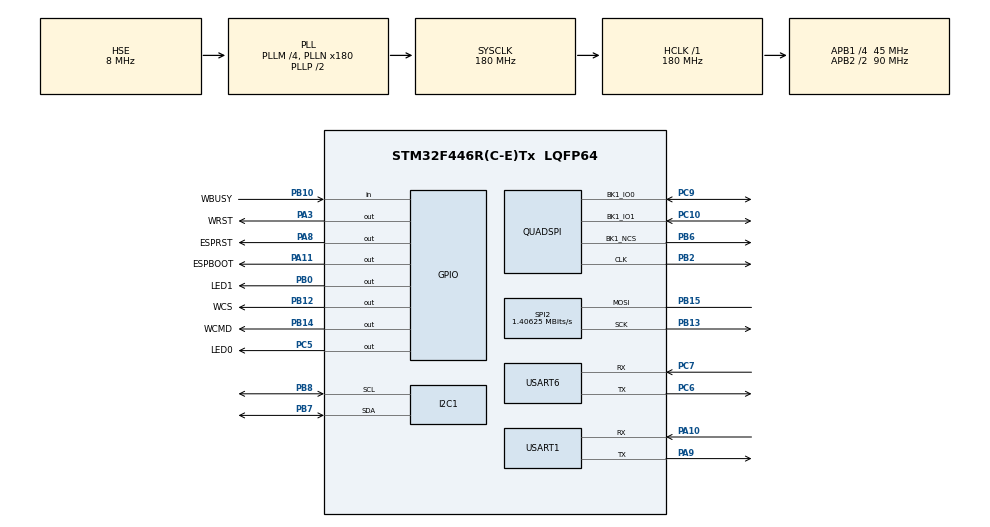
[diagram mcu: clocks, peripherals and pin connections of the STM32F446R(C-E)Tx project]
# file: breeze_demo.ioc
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Mcu.Family=STM32F4
Dma.USART1_TX.2.Direction=DMA_MEMORY_TO_PERIPH
PH0-OSC_IN.Signal=RCC_OSC_IN
RCC.CortexFreq_Value=180000000
RTC.Alarm=RTC_ALARM_A
NVIC.I2C1_EV_IRQn=true\:0\:0\:false\:false\:true\:true\:true
QUADSPI.ClockPrescaler=127
SPI2.VirtualType=VM_MASTER
VP_ADC1_TempSens_Input.Mode=IN-TempSens
PC10.Signal=QUADSPI_BK1_IO1
PB14.GPIO_Label=WCMD
VP_RTC_VS_RTC_Activate.Mode=RTC_Enabled
PB0.GPIO_Label=LED1
PA11.GPIO_PuPd=GPIO_PULLUP
PB13.Signal=SPI2_SCK
PB15.Signal=SPI2_MOSI
Dma.USART6_TX.0.Mode=DMA_NORMAL
VP_RTC_VS_RTC_Alarm_A_Intern.Mode=Alarm A
RCC.SYSCLKSource=RCC_SYSCLKSOURCE_PLLCLK
ProjectManager.StackSize=0x200
Dma.USART6_TX.0.FIFOMode=DMA_FIFOMODE_DISABLE
Dma.USART6_TX.0.Direction=DMA_MEMORY_TO_PERIPH
PB0.PinState=GPIO_PIN_SET
Dma.USART6_TX.0.Instance=DMA2_Stream6
RCC.HCLKFreq_Value=180000000
RCC.APB2TimFreq_Value=180000000
PB6.Signal=QUADSPI_BK1_NCS
PC7.Signal=USART6_RX
PB6.Mode=Single Bank 1 2IOs
Dma.USART1_RX.1.MemInc=DMA_MINC_ENABLE
QUADSPI.FlashSize=21
RCC.AHBFreq_Value=180000000
SPI2.BaudRatePrescaler=SPI_BAUDRATEPRESCALER_32
PH0-OSC_IN.Mode=HSE-External-Oscillator
ADC1.Channel-0\#ChannelRegularConversion=ADC_CHANNEL_TEMPSENSOR
NVIC.TIM1_TRG_COM_TIM11_IRQn=true\:0\:0\:false\:false\:true\:true\:true
RCC.HSE_VALUE=8000000
Dma.USART1_RX.1.PeriphDataAlignment=DMA_PDATAALIGN_BYTE
PB2.Signal=QUADSPI_CLK
PB12.GPIO_Label=WCS
PA11.GPIO_ModeDefaultOutputPP=GPIO_MODE_OUTPUT_OD
PC14-OSC32_IN.Mode=LSE-External-Oscillator
PA14.Mode=Serial_Wire
PC9.Mode=Single Bank 1 2IOs
SPI2.CalculateBaudRate=1.40625 MBits/s
Dma.USART1_TX.2.PeriphDataAlignment=DMA_PDATAALIGN_BYTE
PB7.Signal=I2C1_SDA
PA8.Signal=GPIO_Output
PA8.GPIO_ModeDefaultOutputPP=GPIO_MODE_OUTPUT_OD
Dma.USART1_TX.2.MemDataAlignment=DMA_MDATAALIGN_BYTE
NVIC.I2C1_ER_IRQn=true\:0\:0\:false\:false\:true\:true\:true
ADC1.SamplingTime-0\#ChannelRegularConversion=ADC_SAMPLETIME_3CYCLES
Dma.USART1_RX.1.Mode=DMA_CIRCULAR
PH1-OSC_OUT.Mode=HSE-External-Oscillator
Mcu.Package=LQFP64
NVIC.DMA2_Stream7_IRQn=true\:0\:0\:false\:false\:true\:false\:true
SPI2.Mode=SPI_MODE_MASTER
USART6.VirtualMode=VM_ASYNC
PA10.Signal=USART1_RX
VP_RTC_VS_RTC_Calendar.Mode=RTC_Calendar
Dma.USART1_RX.1.PeriphInc=DMA_PINC_DISABLE
RCC.APB2CLKDivider=RCC_HCLK_DIV2
NVIC.DMA2_Stream2_IRQn=true\:0\:0\:false\:false\:true\:false\:true
Dma.Request2=USART1_TX
Dma.Request1=USART1_RX
RCC.APB1TimFreq_Value=90000000
SPI2.Direction=SPI_DIRECTION_1LINE
PC5.Signal=GPIO_Output
PB13.Mode=Simplex_Bidirectional_Master
Dma.USART1_RX.1.Priority=DMA_PRIORITY_HIGH
NVIC.USART1_IRQn=true\:0\:0\:false\:false\:true\:true\:true
Dma.Request0=USART6_TX
Dma.USART6_TX.0.MemDataAlignment=DMA_MDATAALIGN_BYTE
RTC.Seconds_A=10
PA8.PinState=GPIO_PIN_SET
PA3.Signal=GPIO_Output
RCC.PLLSourceVirtual=RCC_PLLSOURCE_HSE
PC15-OSC32_OUT.Mode=LSE-External-Oscillator
Dma.USART1_RX.1.Instance=DMA2_Stream2
NVIC.QUADSPI_IRQn=true\:0\:0\:false\:false\:true\:true\:true
Dma.USART6_TX.0.MemInc=DMA_MINC_ENABLE
Dma.USART1_RX.1.MemDataAlignment=DMA_MDATAALIGN_BYTE
ADC1.Rank-0\#ChannelRegularConversion=1
PA10.Mode=Asynchronous
Dma.USART1_TX.2.MemInc=DMA_MINC_ENABLE
RTC.AlarmMaskDateWeekDay=RTC_ALARMMASK_DATEWEEKDAY
PC6.Signal=USART6_TX
PC10.Mode=Single Bank 1 2IOs
PA11.GPIO_Label=ESPBOOT
TIM11.Prescaler=49999
RCC.APB1CLKDivider=RCC_HCLK_DIV4
PC14-OSC32_IN.Signal=RCC_OSC32_IN
VP_TIM11_VS_ClockSourceINT.Mode=Enable_Timer
NVIC.USART6_IRQn=true\:0\:0\:false\:false\:true\:true\:true
PA13.Signal=SYS_JTMS-SWDIO
PA9.Mode=Asynchronous
PA8.GPIO_Label=ESPRST
RTC.AlarmMaskMinutes=RTC_ALARMMASK_MINUTES
ProjectManager.TargetToolchain=STM32CubeIDE
PB10.GPIO_Label=WBUSY
PC6.Mode=Asynchronous
PA9.Signal=USART1_TX
RCC.USBFreq_Value=180000000
NVIC.DMA2_Stream6_IRQn=true\:0\:0\:false\:false\:true\:false\:true
PC15-OSC32_OUT.Signal=RCC_OSC32_OUT
PB10.Signal=GPIO_Input
PB14.Signal=GPIO_Output
Dma.USART1_RX.1.FIFOMode=DMA_FIFOMODE_DISABLE
board=custom
RCC.VCOOutputFreq_Value=360000000
PB15.Mode=Simplex_Bidirectional_Master
Dma.USART1_TX.2.FIFOMode=DMA_FIFOMODE_DISABLE
TIM11.Period=17999
RCC.APB2Freq_Value=90000000
Dma.USART1_TX.2.Priority=DMA_PRIORITY_LOW
PH1-OSC_OUT.Signal=RCC_OSC_OUT
RCC.RCC_RTC_Clock_SourceVirtual=RCC_RTCCLKSOURCE_LSE
Dma.USART6_TX.0.PeriphInc=DMA_PINC_DISABLE
PA13.Mode=Serial_Wire
Mcu.Name=STM32F446R(C-E)Tx
Dma.USART1_TX.2.PeriphInc=DMA_PINC_DISABLE
RTC.AlarmMaskHours=RTC_ALARMMASK_HOURS
RCC.SYSCLKFreq_VALUE=180000000
ADC1.master=1
PC5.PinState=GPIO_PIN_SET
PC5.GPIO_Label=LED0
PB2.Mode=Single Bank 1 2IOs
USART1.VirtualMode=VM_ASYNC
PB7.Mode=I2C
PA11.Signal=GPIO_Output
PA14.Signal=SYS_JTCK-SWCLK
ProjectManager.HeapSize=0x400
Dma.USART1_TX.2.Mode=DMA_NORMAL
PA8.GPIO_PuPd=GPIO_PULLUP
NVIC.PriorityGroup=NVIC_PRIORITYGROUP_4
ADC1.NbrOfConversionFlag=1
Dma.USART1_TX.2.Instance=DMA2_Stream7
RCC.PLLM=4
PB8.Mode=I2C
RCC.PLLN=180
Dma.USART6_TX.0.Priority=DMA_PRIORITY_LOW
PB8.Signal=I2C1_SCL
Dma.USART1_RX.1.Direction=DMA_PERIPH_TO_MEMORY
PC9.Signal=QUADSPI_BK1_IO0
PC7.Mode=Asynchronous
PA11.PinState=GPIO_PIN_SET
RCC.APB1Freq_Value=45000000
PB0.Signal=GPIO_Output
PB12.Signal=GPIO_Output
Dma.USART6_TX.0.PeriphDataAlignment=DMA_PDATAALIGN_BYTE
PA3.GPIO_Label=WRST

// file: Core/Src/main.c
/* USER CODE BEGIN Header */
/**
 ******************************************************************************
 * @file           : main.c
 * @brief          : Main program body
 ******************************************************************************
 * @attention
 *
 * <h2><center>&copy; Copyright (c) 2021 STMicroelectronics.
 * All rights reserved.</center></h2>
 *
 * This software component is licensed by ST under BSD 3-Clause license,
 * the "License"; You may not use this file except in compliance with the
 * License. You may obtain a copy of the License at:
 *                        opensource.org/licenses/BSD-3-Clause
 *
 ******************************************************************************
 */
/* USER CODE END Header */
#include "main.h"

/* USER CODE BEGIN Includes */
#include <string.h>
#include <stdio.h>

#include "display.h"
#include "ext_storage.h"
#include "https_download.h"
#include "bme_driver.h"
#include "image_data.h"
#include "sys_control.h"
#include "entropy.h"
#include "image_hash.h"
/* USER CODE END Includes */

/* USER CODE BEGIN PTD */
#define LED_GPIO_ON		GPIO_PIN_RESET
#define LED_GPIO_OFF	(!(LED_GPIO_ON))

/* USER CODE END PTD */

/* USER CODE BEGIN PD */
#define PNG_IMAGE_ADDRESS		0x08020000
#define PNG_IMAGE_SIZE			53793
/* USER CODE END PD */

ADC_HandleTypeDef hadc1;

I2C_HandleTypeDef hi2c1;

QSPI_HandleTypeDef hqspi;

RTC_HandleTypeDef hrtc;

SPI_HandleTypeDef hspi2;

TIM_HandleTypeDef htim11;

UART_HandleTypeDef huart1;
UART_HandleTypeDef huart6;
DMA_HandleTypeDef hdma_usart1_rx;
DMA_HandleTypeDef hdma_usart1_tx;
DMA_HandleTypeDef hdma_usart6_tx;

void SystemClock_Config(void);
static void MX_GPIO_Init(void);
static void MX_DMA_Init(void);
static void MX_USART6_UART_Init(void);
static void MX_SPI2_Init(void);
static void MX_QUADSPI_Init(void);
static void MX_USART1_UART_Init(void);
static void MX_I2C1_Init(void);
static void MX_TIM11_Init(void);
static void MX_ADC1_Init(void);
static void MX_RTC_Init(void);
/* USER CODE BEGIN PFP */
static void qspi_test(void);
/* USER CODE END PFP */

int main(void)
{

	/* MCU Configuration--------------------------------------------------------*/

	/* Reset of all peripherals, Initializes the Flash interface and the Systick. */
	HAL_Init();

	/* Configure the system clock */
	SystemClock_Config();

	/* Initialize all configured peripherals */
	MX_GPIO_Init();
	MX_DMA_Init();
	MX_USART6_UART_Init();
	MX_SPI2_Init();
	MX_QUADSPI_Init();
	MX_USART1_UART_Init();
	MX_I2C1_Init();
	MX_TIM11_Init();
	MX_ADC1_Init();
	MX_RTC_Init();
	/* USER CODE BEGIN 2 */
	__HAL_PWR_CLEAR_FLAG(PWR_FLAG_WU);
	/* USER CODE END 2 */

	/* Infinite loop */
	/* USER CODE BEGIN WHILE */

#define DISPLAY_IMAGE
#define READ_WEATHER_DATA
#define DOWNLOAD_IMAGE
#define VERIFY_IMAGE

	HAL_Delay(400);
	printf("App started\r\n");
	HAL_Delay(100);
	led_set(0, 0);
	led_set(1, 0);

	if (entropy_init()) {
		Error_Handler();
	}

	if (bme_driver_init()) {
		Error_Handler();
	}

	led_set(1, 1);
	esp_reset(1);
	HAL_Delay(200);
	esp_reset(0);
	led_set(1, 0);

#ifdef DISPLAY_IMAGE
	display_init();
#else
	HAL_Delay(1000);
#endif

#ifdef ESP_TEST_READ_WRITE
	esp_test_read_write();
#endif

#ifdef DOWNLOAD_IMAGE
	ext_storage_t ext;
	static image_data_t image_data;
	if (ext_storage_init(&ext)) {
		Error_Handler();
	}
	image_hash_init();

	if (https_download_image(&ext, &image_data)) {
		printf("Failed to download image\r\n");
		Error_Handler();
	}
	printf("Image with size %u saved to QSPI flash\r\n", image_data.size);
#endif

	static uint8_t qspi_read_buf[256];

#ifdef VERIFY_IMAGE
	printf("Verifying image hash\r\n");
	ext_storage_read_and_hash(&ext, qspi_read_buf, 256);
	if (image_hash_equal()) {
		printf("Image hash verified\r\n");
		image_hash_release();
	} else {
		printf("Image hash verify failed\r\n");
		Error_Handler();
	}
#endif

#ifdef DISPLAY_IMAGE
	display_clear();
	HAL_Delay(100);
	led_set(1, 1);
	load_png_image_init();
	size_t bytes_fed = 0;
	const size_t feed_chunk = 256;
	while (bytes_fed < image_data.size) {
		size_t to_feed = image_data.size - bytes_fed;
		if (to_feed > feed_chunk) {
			to_feed = feed_chunk;
		}
		if (ext_storage_read(&ext, qspi_read_buf, to_feed, ext.start_address + bytes_fed)) {
			Error_Handler();
		}
		if (load_png_image_feed(qspi_read_buf, to_feed)) {
			printf("Feed failed at %u\r\n", bytes_fed);
			display_deinit();
			HAL_Delay(1000);
			Error_Handler();
		}
		bytes_fed += to_feed;
	}
	load_png_image_release();
#endif

#ifdef READ_WEATHER_DATA
	static char weather_str[256];
	weather_data_t weather;

	if (bme_driver_get_weather(&weather)) {
		Error_Handler();
	}
	snprintf(weather_str, sizeof(weather_str),
			"xkcd.com: %s  | T:%d.%02dC,P:%dmmHg,H:%d%%",
			image_data.title,
			weather.temperature / 100, weather.temperature % 100,
			weather.pressure,
			weather.humidity);
#ifdef DISPLAY_IMAGE
	display_add_text(weather_str);
#endif
#endif

#ifdef DISPLAY_IMAGE
	display_png_image();
	HAL_Delay(100);
	display_deinit();
#endif

	led_set(0, 0);
	led_set(1, 0);

	/*
	static const int wait_sec = 60 * 2;
	static const int wait_period = 5;

	if (wait_sec) {
		system_wait_and_reset(wait_sec, wait_period);
	}
	*/
	system_go_standby(0x30, 0x00);

	while (1)
	{
		/* USER CODE END WHILE */

		/* USER CODE BEGIN 3 */
		led_set(1, 1);
		HAL_Delay(100);
		led_set(1, 0);
		HAL_Delay(1000);
	}
	/* USER CODE END 3 */
}

void SystemClock_Config(void)
{
	RCC_OscInitTypeDef RCC_OscInitStruct = {0};
	RCC_ClkInitTypeDef RCC_ClkInitStruct = {0};
	RCC_PeriphCLKInitTypeDef PeriphClkInitStruct = {0};

	/** Configure the main internal regulator output voltage
	 */
	__HAL_RCC_PWR_CLK_ENABLE();
	__HAL_PWR_VOLTAGESCALING_CONFIG(PWR_REGULATOR_VOLTAGE_SCALE1);
	/** Initializes the RCC Oscillators according to the specified parameters
	 * in the RCC_OscInitTypeDef structure.
	 */
	RCC_OscInitStruct.OscillatorType = RCC_OSCILLATORTYPE_HSE|RCC_OSCILLATORTYPE_LSE;
	RCC_OscInitStruct.HSEState = RCC_HSE_ON;
	RCC_OscInitStruct.LSEState = RCC_LSE_ON;
	RCC_OscInitStruct.PLL.PLLState = RCC_PLL_ON;
	RCC_OscInitStruct.PLL.PLLSource = RCC_PLLSOURCE_HSE;
	RCC_OscInitStruct.PLL.PLLM = 4;
	RCC_OscInitStruct.PLL.PLLN = 180;
	RCC_OscInitStruct.PLL.PLLP = RCC_PLLP_DIV2;
	RCC_OscInitStruct.PLL.PLLQ = 2;
	RCC_OscInitStruct.PLL.PLLR = 2;
	if (HAL_RCC_OscConfig(&RCC_OscInitStruct) != HAL_OK)
	{
		Error_Handler();
	}
	/** Activate the Over-Drive mode
	 */
	if (HAL_PWREx_EnableOverDrive() != HAL_OK)
	{
		Error_Handler();
	}
	/** Initializes the CPU, AHB and APB buses clocks
	 */
	RCC_ClkInitStruct.ClockType = RCC_CLOCKTYPE_HCLK|RCC_CLOCKTYPE_SYSCLK
			|RCC_CLOCKTYPE_PCLK1|RCC_CLOCKTYPE_PCLK2;
	RCC_ClkInitStruct.SYSCLKSource = RCC_SYSCLKSOURCE_PLLCLK;
	RCC_ClkInitStruct.AHBCLKDivider = RCC_SYSCLK_DIV1;
	RCC_ClkInitStruct.APB1CLKDivider = RCC_HCLK_DIV4;
	RCC_ClkInitStruct.APB2CLKDivider = RCC_HCLK_DIV2;

	if (HAL_RCC_ClockConfig(&RCC_ClkInitStruct, FLASH_LATENCY_5) != HAL_OK)
	{
		Error_Handler();
	}
	PeriphClkInitStruct.PeriphClockSelection = RCC_PERIPHCLK_RTC;
	PeriphClkInitStruct.RTCClockSelection = RCC_RTCCLKSOURCE_LSE;
	if (HAL_RCCEx_PeriphCLKConfig(&PeriphClkInitStruct) != HAL_OK)
	{
		Error_Handler();
	}
}

static void MX_ADC1_Init(void)
{

	ADC_ChannelConfTypeDef sConfig = {0};

	/** Configure the global features of the ADC (Clock, Resolution, Data Alignment and number of conversion)
	 */
	hadc1.Instance = ADC1;
	hadc1.Init.ClockPrescaler = ADC_CLOCK_SYNC_PCLK_DIV4;
	hadc1.Init.Resolution = ADC_RESOLUTION_12B;
	hadc1.Init.ScanConvMode = DISABLE;
	hadc1.Init.ContinuousConvMode = DISABLE;
	hadc1.Init.DiscontinuousConvMode = DISABLE;
	hadc1.Init.ExternalTrigConvEdge = ADC_EXTERNALTRIGCONVEDGE_NONE;
	hadc1.Init.ExternalTrigConv = ADC_SOFTWARE_START;
	hadc1.Init.DataAlign = ADC_DATAALIGN_RIGHT;
	hadc1.Init.NbrOfConversion = 1;
	hadc1.Init.DMAContinuousRequests = DISABLE;
	hadc1.Init.EOCSelection = ADC_EOC_SINGLE_CONV;
	if (HAL_ADC_Init(&hadc1) != HAL_OK)
	{
		Error_Handler();
	}
	/** Configure for the selected ADC regular channel its corresponding rank in the sequencer and its sample time.
	 */
	sConfig.Channel = ADC_CHANNEL_TEMPSENSOR;
	sConfig.Rank = 1;
	sConfig.SamplingTime = ADC_SAMPLETIME_3CYCLES;
	if (HAL_ADC_ConfigChannel(&hadc1, &sConfig) != HAL_OK)
	{
		Error_Handler();
	}

}

static void MX_I2C1_Init(void)
{

	hi2c1.Instance = I2C1;
	hi2c1.Init.ClockSpeed = 100000;
	hi2c1.Init.DutyCycle = I2C_DUTYCYCLE_2;
	hi2c1.Init.OwnAddress1 = 0;
	hi2c1.Init.AddressingMode = I2C_ADDRESSINGMODE_7BIT;
	hi2c1.Init.DualAddressMode = I2C_DUALADDRESS_DISABLE;
	hi2c1.Init.OwnAddress2 = 0;
	hi2c1.Init.GeneralCallMode = I2C_GENERALCALL_DISABLE;
	hi2c1.Init.NoStretchMode = I2C_NOSTRETCH_DISABLE;
	if (HAL_I2C_Init(&hi2c1) != HAL_OK)
	{
		Error_Handler();
	}

}

static void MX_QUADSPI_Init(void)
{

	/* QUADSPI parameter configuration*/
	hqspi.Instance = QUADSPI;
	hqspi.Init.ClockPrescaler = 127;
	hqspi.Init.FifoThreshold = 1;
	hqspi.Init.SampleShifting = QSPI_SAMPLE_SHIFTING_NONE;
	hqspi.Init.FlashSize = 21;
	hqspi.Init.ChipSelectHighTime = QSPI_CS_HIGH_TIME_1_CYCLE;
	hqspi.Init.ClockMode = QSPI_CLOCK_MODE_0;
	hqspi.Init.FlashID = QSPI_FLASH_ID_1;
	hqspi.Init.DualFlash = QSPI_DUALFLASH_DISABLE;
	if (HAL_QSPI_Init(&hqspi) != HAL_OK)
	{
		Error_Handler();
	}

}

static void MX_RTC_Init(void)
{

	RTC_TimeTypeDef sTime = {0};
	RTC_DateTypeDef sDate = {0};
	RTC_AlarmTypeDef sAlarm = {0};

	/** Initialize RTC Only
	 */
	hrtc.Instance = RTC;
	hrtc.Init.HourFormat = RTC_HOURFORMAT_24;
	hrtc.Init.AsynchPrediv = 127;
	hrtc.Init.SynchPrediv = 255;
	hrtc.Init.OutPut = RTC_OUTPUT_DISABLE;
	hrtc.Init.OutPutPolarity = RTC_OUTPUT_POLARITY_HIGH;
	hrtc.Init.OutPutType = RTC_OUTPUT_TYPE_OPENDRAIN;
	if (HAL_RTC_Init(&hrtc) != HAL_OK)
	{
		Error_Handler();
	}

	/** Initialize RTC and set the Time and Date
	 */
	sTime.Hours = 0x0;
	sTime.Minutes = 0x0;
	sTime.Seconds = 0x0;
	sTime.DayLightSaving = RTC_DAYLIGHTSAVING_NONE;
	sTime.StoreOperation = RTC_STOREOPERATION_RESET;
	if (HAL_RTC_SetTime(&hrtc, &sTime, RTC_FORMAT_BCD) != HAL_OK)
	{
		Error_Handler();
	}
	sDate.WeekDay = RTC_WEEKDAY_MONDAY;
	sDate.Month = RTC_MONTH_JANUARY;
	sDate.Date = 0x1;
	sDate.Year = 0x0;

	if (HAL_RTC_SetDate(&hrtc, &sDate, RTC_FORMAT_BCD) != HAL_OK)
	{
		Error_Handler();
	}
	/** Enable the Alarm A
	 */
	sAlarm.AlarmTime.Hours = 0x0;
	sAlarm.AlarmTime.Minutes = 0x0;
	sAlarm.AlarmTime.Seconds = 0x05;
	sAlarm.AlarmTime.SubSeconds = 0x0;
	sAlarm.AlarmTime.DayLightSaving = RTC_DAYLIGHTSAVING_NONE;
	sAlarm.AlarmTime.StoreOperation = RTC_STOREOPERATION_RESET;
	sAlarm.AlarmMask = RTC_ALARMMASK_DATEWEEKDAY|RTC_ALARMMASK_HOURS
			|RTC_ALARMMASK_MINUTES;
	sAlarm.AlarmSubSecondMask = RTC_ALARMSUBSECONDMASK_ALL;
	sAlarm.AlarmDateWeekDaySel = RTC_ALARMDATEWEEKDAYSEL_DATE;
	sAlarm.AlarmDateWeekDay = 0x1;
	sAlarm.Alarm = RTC_ALARM_A;
	if (HAL_RTC_SetAlarm(&hrtc, &sAlarm, RTC_FORMAT_BCD) != HAL_OK)
	{
		Error_Handler();
	}

}

static void MX_SPI2_Init(void)
{

	/* SPI2 parameter configuration*/
	hspi2.Instance = SPI2;
	hspi2.Init.Mode = SPI_MODE_MASTER;
	hspi2.Init.Direction = SPI_DIRECTION_1LINE;
	hspi2.Init.DataSize = SPI_DATASIZE_8BIT;
	hspi2.Init.CLKPolarity = SPI_POLARITY_LOW;
	hspi2.Init.CLKPhase = SPI_PHASE_1EDGE;
	hspi2.Init.NSS = SPI_NSS_SOFT;
	hspi2.Init.BaudRatePrescaler = SPI_BAUDRATEPRESCALER_32;
	hspi2.Init.FirstBit = SPI_FIRSTBIT_MSB;
	hspi2.Init.TIMode = SPI_TIMODE_DISABLE;
	hspi2.Init.CRCCalculation = SPI_CRCCALCULATION_DISABLE;
	hspi2.Init.CRCPolynomial = 10;
	if (HAL_SPI_Init(&hspi2) != HAL_OK)
	{
		Error_Handler();
	}

}

static void MX_TIM11_Init(void)
{

	htim11.Instance = TIM11;
	htim11.Init.Prescaler = 49999;
	htim11.Init.CounterMode = TIM_COUNTERMODE_UP;
	htim11.Init.Period = 17999;
	htim11.Init.ClockDivision = TIM_CLOCKDIVISION_DIV1;
	htim11.Init.AutoReloadPreload = TIM_AUTORELOAD_PRELOAD_DISABLE;
	if (HAL_TIM_Base_Init(&htim11) != HAL_OK)
	{
		Error_Handler();
	}

}

static void MX_USART1_UART_Init(void)
{

	huart1.Instance = USART1;
	huart1.Init.BaudRate = 115200;
	huart1.Init.WordLength = UART_WORDLENGTH_8B;
	huart1.Init.StopBits = UART_STOPBITS_1;
	huart1.Init.Parity = UART_PARITY_NONE;
	huart1.Init.Mode = UART_MODE_TX_RX;
	huart1.Init.HwFlowCtl = UART_HWCONTROL_NONE;
	huart1.Init.OverSampling = UART_OVERSAMPLING_16;
	if (HAL_UART_Init(&huart1) != HAL_OK)
	{
		Error_Handler();
	}

}

static void MX_USART6_UART_Init(void)
{

	huart6.Instance = USART6;
	huart6.Init.BaudRate = 115200;
	huart6.Init.WordLength = UART_WORDLENGTH_8B;
	huart6.Init.StopBits = UART_STOPBITS_1;
	huart6.Init.Parity = UART_PARITY_NONE;
	huart6.Init.Mode = UART_MODE_TX_RX;
	huart6.Init.HwFlowCtl = UART_HWCONTROL_NONE;
	huart6.Init.OverSampling = UART_OVERSAMPLING_16;
	if (HAL_UART_Init(&huart6) != HAL_OK)
	{
		Error_Handler();
	}

}

static void MX_DMA_Init(void)
{

	/* DMA controller clock enable */
	__HAL_RCC_DMA2_CLK_ENABLE();

	/* DMA interrupt init */
	/* DMA2_Stream2_IRQn interrupt configuration */
	HAL_NVIC_SetPriority(DMA2_Stream2_IRQn, 0, 0);
	HAL_NVIC_EnableIRQ(DMA2_Stream2_IRQn);
	/* DMA2_Stream6_IRQn interrupt configuration */
	HAL_NVIC_SetPriority(DMA2_Stream6_IRQn, 0, 0);
	HAL_NVIC_EnableIRQ(DMA2_Stream6_IRQn);
	/* DMA2_Stream7_IRQn interrupt configuration */
	HAL_NVIC_SetPriority(DMA2_Stream7_IRQn, 0, 0);
	HAL_NVIC_EnableIRQ(DMA2_Stream7_IRQn);

}

static void MX_GPIO_Init(void)
{
	GPIO_InitTypeDef GPIO_InitStruct = {0};

	/* GPIO Ports Clock Enable */
	__HAL_RCC_GPIOC_CLK_ENABLE();
	__HAL_RCC_GPIOH_CLK_ENABLE();
	__HAL_RCC_GPIOA_CLK_ENABLE();
	__HAL_RCC_GPIOB_CLK_ENABLE();

	/*Configure GPIO pin Output Level */
	HAL_GPIO_WritePin(WRST_GPIO_Port, WRST_Pin, GPIO_PIN_RESET);

	/*Configure GPIO pin Output Level */
	HAL_GPIO_WritePin(LED0_GPIO_Port, LED0_Pin, GPIO_PIN_SET);

	/*Configure GPIO pin Output Level */
	HAL_GPIO_WritePin(LED1_GPIO_Port, LED1_Pin, GPIO_PIN_SET);

	/*Configure GPIO pin Output Level */
	HAL_GPIO_WritePin(GPIOB, WCS_Pin|WCMD_Pin, GPIO_PIN_RESET);

	/*Configure GPIO pin Output Level */
	HAL_GPIO_WritePin(GPIOA, ESPRST_Pin|ESPBOOT_Pin, GPIO_PIN_SET);

	/*Configure GPIO pin : WRST_Pin */
	GPIO_InitStruct.Pin = WRST_Pin;
	GPIO_InitStruct.Mode = GPIO_MODE_OUTPUT_PP;
	GPIO_InitStruct.Pull = GPIO_NOPULL;
	GPIO_InitStruct.Speed = GPIO_SPEED_FREQ_LOW;
	HAL_GPIO_Init(WRST_GPIO_Port, &GPIO_InitStruct);

	/*Configure GPIO pin : LED0_Pin */
	GPIO_InitStruct.Pin = LED0_Pin;
	GPIO_InitStruct.Mode = GPIO_MODE_OUTPUT_PP;
	GPIO_InitStruct.Pull = GPIO_NOPULL;
	GPIO_InitStruct.Speed = GPIO_SPEED_FREQ_LOW;
	HAL_GPIO_Init(LED0_GPIO_Port, &GPIO_InitStruct);

	/*Configure GPIO pins : LED1_Pin WCS_Pin WCMD_Pin */
	GPIO_InitStruct.Pin = LED1_Pin|WCS_Pin|WCMD_Pin;
	GPIO_InitStruct.Mode = GPIO_MODE_OUTPUT_PP;
	GPIO_InitStruct.Pull = GPIO_NOPULL;
	GPIO_InitStruct.Speed = GPIO_SPEED_FREQ_LOW;
	HAL_GPIO_Init(GPIOB, &GPIO_InitStruct);

	/*Configure GPIO pin : WBUSY_Pin */
	GPIO_InitStruct.Pin = WBUSY_Pin;
	GPIO_InitStruct.Mode = GPIO_MODE_INPUT;
	GPIO_InitStruct.Pull = GPIO_NOPULL;
	HAL_GPIO_Init(WBUSY_GPIO_Port, &GPIO_InitStruct);

	/*Configure GPIO pins : ESPRST_Pin ESPBOOT_Pin */
	GPIO_InitStruct.Pin = ESPRST_Pin|ESPBOOT_Pin;
	GPIO_InitStruct.Mode = GPIO_MODE_OUTPUT_OD;
	GPIO_InitStruct.Pull = GPIO_PULLUP;
	GPIO_InitStruct.Speed = GPIO_SPEED_FREQ_LOW;
	HAL_GPIO_Init(GPIOA, &GPIO_InitStruct);

}

/* USER CODE BEGIN 4 */
void led_blink(uint8_t led)
{
	if (led == 0) {
		HAL_GPIO_TogglePin(LED0_GPIO_Port, LED0_Pin);
	} else if (led == 1) {
		HAL_GPIO_TogglePin(LED1_GPIO_Port, LED1_Pin);
	}
}

void led_set(uint8_t led, uint8_t state)
{
	GPIO_PinState led_state = state ? LED_GPIO_ON : LED_GPIO_OFF;
	if (led == 0) {
		HAL_GPIO_WritePin(LED0_GPIO_Port, LED0_Pin, led_state);
	} else if (led == 1) {
		HAL_GPIO_WritePin(LED1_GPIO_Port, LED1_Pin, led_state);
	}
}

#include "qspi_driver.h"

__attribute__ ((unused))
static void qspi_test(void)
{
	const size_t pattern_size = 150000;
	const size_t flash_addr = 0x0;

	if (QSPI_init_device()) {
		printf("Failed to init QSPI flash\r\n");
		Error_Handler();
	}
	if (QSPI_area_erase(flash_addr, pattern_size)) {
		printf("Failed to erase QSPI flash\r\n");
		Error_Handler();
	}
	HAL_Delay(100);
	if (QSPI_write_pattern(flash_addr, pattern_size)) {
		printf("Failed to write pattern\r\n");
		Error_Handler();
	}
	HAL_Delay(100);
	led_set(1, 1);
	if (QSPI_verify_pattern(flash_addr, pattern_size)) {
		printf("Failed to verify pattern\r\n");
		Error_Handler();
	}
	led_set(0, 0);
}

void DEV_Delay_ms_impl(uint32_t ms)
{
	static const uint32_t min_delay = 50;
	if (ms < min_delay) {
		HAL_Delay(ms);
	} else {
		uint32_t delay = 0;
		while (delay < ms) {
			uint32_t wait = ms - delay > min_delay ? min_delay : ms - delay;
			led_blink(1);
			HAL_Delay(wait);
			delay += wait;
		}
	}
}
/* USER CODE END 4 */

void Error_Handler(void)
{
	/* USER CODE BEGIN Error_Handler_Debug */
	/* User can add his own implementation to report the HAL error return state */
	system_error_handler();
	/* USER CODE END Error_Handler_Debug */
}

/************************ (C) COPYRIGHT STMicroelectronics *****END OF FILE****/
